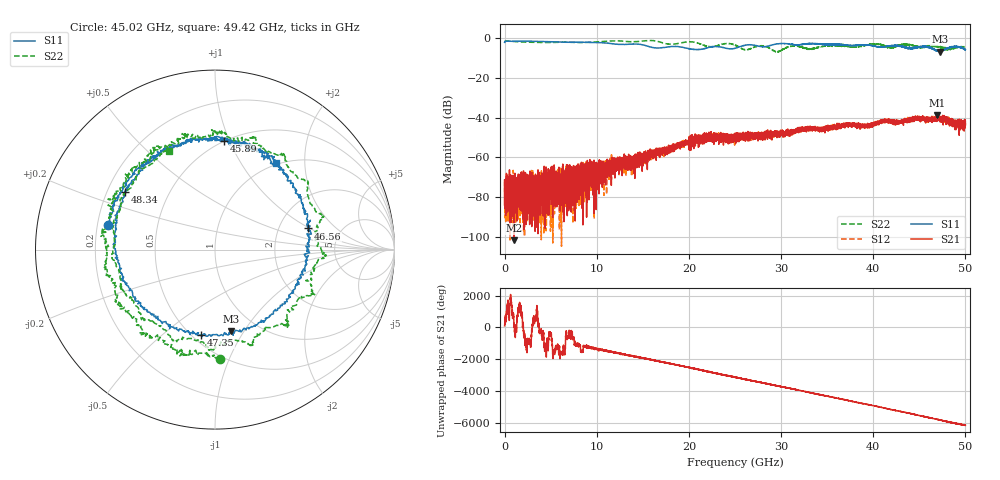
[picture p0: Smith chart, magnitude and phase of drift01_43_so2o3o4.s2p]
!Created with skrf (http://scikit-rf.org).
# Hz S RI R 50.0
!freq ReS11 ImS11 ReS21 ImS21 ReS12 ImS12 ReS22 ImS22
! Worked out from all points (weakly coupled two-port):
!   10001 points, 300 kHz to 50 GHz, reference 50 ohm
!   highest |S21| = -38.58 dB at 46.89 GHz (marker M1); lowest = -101.8 dB at 1.02 GHz (marker M2)
!   lowest |S11| = -6.7 dB at 47.21 GHz (marker M3), VSWR 2.72, Z = 38 - j43.9 ohm
!   |S11| at or under -10 dB: nowhere
!   |S22| runs from -6.9 to -1.1 dB; largest |S21 - S12| = 0.0039
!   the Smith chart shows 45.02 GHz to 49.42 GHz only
!   S11 on the Smith chart (normalised r, x): 45.02 GHz: 0.24, +0.11; 45.89 GHz: 0.49, +0.95; 46.56 GHz: 2.91, +0.96; 47.35 GHz: 0.55, -0.69; 48.34 GHz: 0.27, +0.27; 49.42 GHz: 0.97, +1.45
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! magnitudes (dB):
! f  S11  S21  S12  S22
! 300 kHz  -2.0  -71.5  -71.4  -1.3
! 265.3 MHz  -1.4  -68.9  -73.9  -1.4
! 1.02 GHz  -1.5  -101.8  -80.9  -1.6
! 5.21 GHz  -1.7  -90.3  -69.8  -2.1
! 7.405 GHz  -2.0  -76.7  -69.1  -2.0
! 8.335 GHz  -2.0  -62.5  -72.9  -2.1
! 16.67 GHz  -4.8  -57.6  -55.9  -1.6
! 22.23 GHz  -4.5  -47.7  -50.8  -4.3
! 25 GHz  -5.0  -51.9  -50.0  -3.4
! 29.52 GHz  -2.8  -47.5  -48.5  -6.7
! 31.26 GHz  -3.1  -47.1  -47.4  -3.9
! 33.34 GHz  -2.6  -46.0  -45.8  -5.4
! 41.67 GHz  -3.9  -40.8  -42.3  -4.5
! 45.02 GHz  -4.3  -41.0  -39.8  -4.3
! 45.89 GHz  -4.3  -40.9  -41.0  -4.4
! 46.56 GHz  -5.5  -41.2  -40.8  -3.7
! 46.89 GHz  -6.2  -38.6  -40.4  -4.2
! 47.21 GHz  -6.7  -39.3  -41.4  -4.6
! 47.35 GHz  -6.3  -40.4  -40.6  -4.7
! 48.34 GHz  -4.5  -42.0  -41.1  -5.6
! 49.42 GHz  -4.5  -44.3  -44.3  -4.3
! 50 GHz  -5.7  -41.8  -43.1  -4.3
